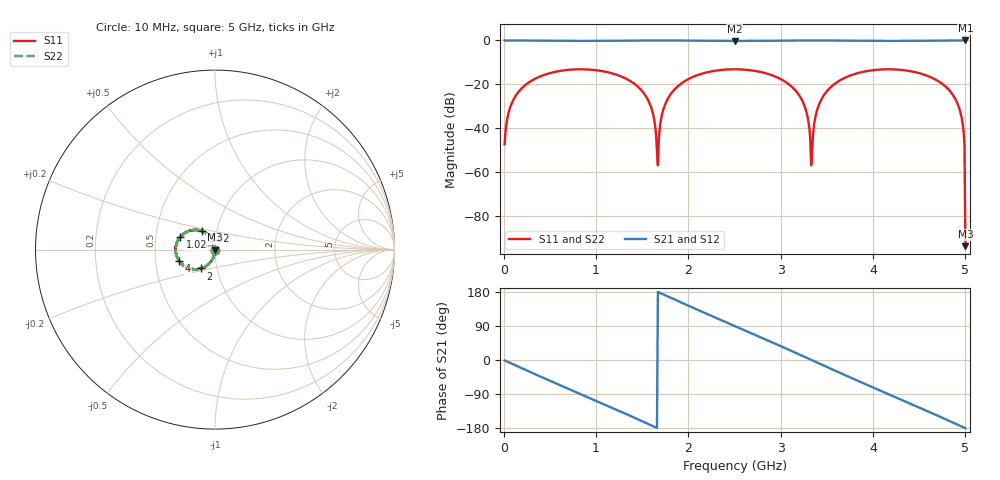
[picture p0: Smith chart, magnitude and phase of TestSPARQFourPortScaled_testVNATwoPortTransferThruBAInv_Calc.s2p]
# MHz MA S R 50.0
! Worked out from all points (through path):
!   500 points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, 10 MHz to 5 GHz, reference 50 ohm
!   highest |S21| = 0.00 dB at 5 GHz (marker M1); lowest = -0.2 dB at 2.5 GHz (marker M2)
!   group delay of S21, straight-line fit = 300 ps
!   lowest |S11| = -94.0 dB at 5 GHz (marker M3), VSWR 1.00, Z = 50 - j2.45e-19 ohm
!   |S11| at or under -10 dB: start of sweep to end of sweep
!   |S22| runs from -94.0 to -13.2 dB; largest |S21 - S12| = 4.3e-06
!   S11 on the Smith chart (normalised r, x): 10 MHz: 1.00, -0.01; 1.02 GHz: 0.67, +0.10; 2 GHz: 0.84, -0.18; 3.02 GHz: 0.85, +0.18; 4 GHz: 0.66, -0.09; 5 GHz: 1.00, -0.00
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10  0.004241 -91.4  1 -1.1  1 -1.1  0.00424 -91.4
80  0.03378 -98.9  0.9994 -8.9  0.9994 -8.9  0.03377 -98.9
220  0.09028 -114.3  0.9959 -24.3  0.9959 -24.3  0.09027 -114.3
850  0.2194 178.2  0.9756 -91.8  0.9756 -91.8  0.2194 178.2
1020  0.2066 160.3  0.9784 -109.7  0.9784 -109.7  0.2066 160.3
1500  0.06936 108.4  0.9976 -161.6  0.9976 -161.6  0.06936 108.4
1600  0.02819 97.4  0.9996 -172.6  0.9996 -172.6  0.02819 97.4
1680  0.00565 -91.6  1 178.5  1 178.5  0.00566 -91.6
1770  0.0435 -101.4  0.999 168.6  0.999 168.6  0.04351 -101.5
2000  0.1311 -126.7  0.9913 143.3  0.9914 143.3  0.1311 -126.7
2500  0.2195 -180.0  0.9756 90.0  0.9756 90.0  0.2195 180.0
2510  0.2195 178.9  0.9756 88.9  0.9756 88.9  0.2195 178.9
3020  0.1243 124.5  0.9922 34.5  0.9922 34.5  0.1243 124.5
3240  0.03935 100.3  0.9992 10.3  0.9992 10.3  0.03936 100.3
3340  0.002831 -91.0  1 -0.7  1 -0.7  0.002821 -90.9
3400  0.02819 -97.4  0.9996 -7.4  0.9996 -7.4  0.02819 -97.4
3500  0.06936 -108.4  0.9976 -18.4  0.9976 -18.4  0.06936 -108.4
4000  0.2092 -162.4  0.9778 -72.4  0.9778 -72.4  0.2092 -162.4
4170  0.2195 179.6  0.9756 -90.4  0.9756 -90.4  0.2195 179.7
4860  0.05858 105.5  0.9983 -164.5  0.9983 -164.5  0.05858 105.5
4960  0.01694 94.5  0.9998 -175.6  0.9998 -175.6  0.01694 94.5
5000  2e-05 -180.0  1 -180.0  1 -180.0  2e-05 -180.0
